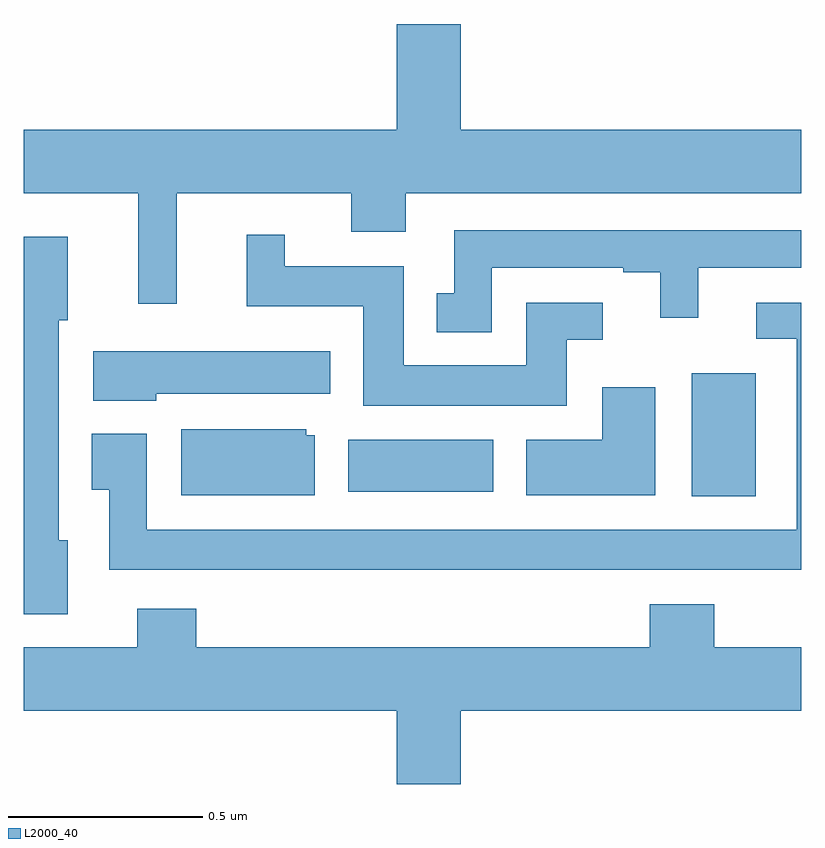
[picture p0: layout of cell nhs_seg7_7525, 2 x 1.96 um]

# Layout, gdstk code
import gdstk
lib = gdstk.Library(unit=1e-6, precision=1e-09)
def R(c, l, rs):  # rectangles x0, y0, x1, y1
    for r in rs: c.add(gdstk.rectangle(r[:2], r[2:], *l))
def P(c, l, *ps):  # polygons
    for p in ps: c.add(gdstk.Polygon(p, *l))
L2000_40 = (2000, 40)

nhs_seg7_7525 = lib.new_cell('nhs_seg7_7525')
R(nhs_seg7_7525, L2000_40, [(213.719,1051.784,213.883,1052.101), (212.835,1051.796,213.208,1051.93)])
P(nhs_seg7_7525, L2000_40, [(212.983,1052.564),(214,1052.564),(214,1052.728),(213.124,1052.728),(213.124,1053),(212.96,1053),(212.96,1052.728),(212,1052.728),(212,1052.564),(212.294,1052.564),(212.294,1052.28),(212.393,1052.28),(212.393,1052.564),(212.843,1052.564),(212.843,1052.465),(212.983,1052.465)],
  [(213.204,1052.373),(213.542,1052.373),(213.542,1052.361),(213.638,1052.361),(213.638,1052.244),(213.736,1052.244),(213.736,1052.373),(214,1052.373),(214,1052.469),(213.108,1052.469),(213.108,1052.307),(213.062,1052.307),(213.062,1052.207),(213.204,1052.207)],
  [(213.397,1052.187),(213.49,1052.187),(213.49,1052.283),(213.293,1052.283),(213.293,1052.122),(212.977,1052.122),(212.977,1052.377),(212.671,1052.377),(212.671,1052.458),(212.573,1052.458),(212.573,1052.273),(212.873,1052.273),(212.873,1052.018),(213.397,1052.018)],
  [(212.113,1051.671),(212.089,1051.671),(212.089,1052.238),(212.113,1052.238),(212.113,1052.452),(212,1052.452),(212,1051.481),(212.113,1051.481)],
  [(214,1052.283),(213.885,1052.283),(213.885,1052.19),(213.989,1052.19),(213.989,1051.699),(212.316,1051.699),(212.316,1051.945),(212.174,1051.945),(212.174,1051.801),(212.219,1051.801),(212.219,1051.595),(214,1051.595)],
  [(212.34,1052.048),(212.788,1052.048),(212.788,1052.158),(212.178,1052.158),(212.178,1052.03),(212.34,1052.03)],
  [(213.625,1052.065),(213.488,1052.065),(213.488,1051.93),(213.293,1051.93),(213.293,1051.787),(213.625,1051.787)],
  [(212.749,1051.941),(212.727,1051.941),(212.727,1051.957),(212.405,1051.957),(212.405,1051.787),(212.749,1051.787)],
  [(213.124,1051.232),(214,1051.232),(214,1051.396),(213.776,1051.396),(213.776,1051.507),(213.611,1051.507),(213.611,1051.396),(212.444,1051.396),(212.444,1051.495),(212.291,1051.495),(212.291,1051.396),(212,1051.396),(212,1051.232),(212.96,1051.232),(212.96,1051.044),(213.124,1051.044)])

lib.write_gds('nhs_seg7_7525.gds')
